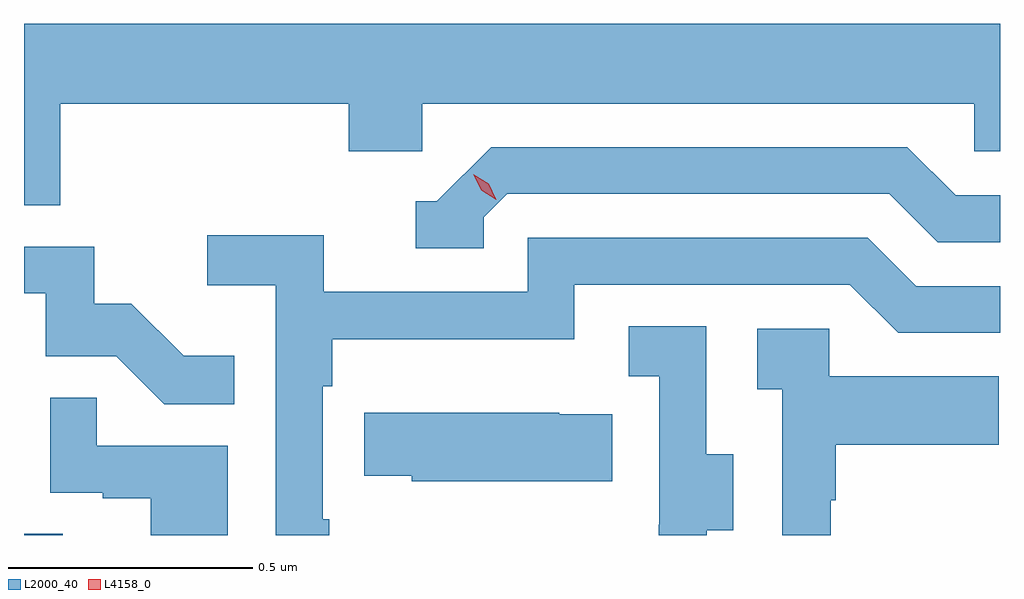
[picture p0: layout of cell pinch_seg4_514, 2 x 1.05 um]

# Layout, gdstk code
import gdstk
lib = gdstk.Library(unit=1e-6, precision=1e-09)
def R(c, l, rs):  # rectangles x0, y0, x1, y1
    for r in rs: c.add(gdstk.rectangle(r[:2], r[2:], *l))
def P(c, l, *ps):  # polygons
    for p in ps: c.add(gdstk.Polygon(p, *l))
L2000_40 = (2000, 40)
L4158_0 = (4158, 0)

pinch_seg4_514 = lib.new_cell('pinch_seg4_514')
R(pinch_seg4_514, L2000_40, [(993.144,753.311,993.223,753.314)])
P(pinch_seg4_514, L2000_40, [(993.218,754.196),(993.809,754.196),(993.809,754.098),(993.96,754.098),(993.96,754.196),(995.091,754.196),(995.091,754.098),(995.144,754.098),(995.144,754.36),(993.144,754.36),(993.144,753.988),(993.218,753.988)],
  [(994.086,753.963),(994.134,754.011),(994.917,754.011),(995.016,753.912),(995.144,753.912),(995.144,754.008),(995.053,754.008),(994.954,754.107),(994.101,754.107),(993.99,753.996),(993.947,753.996),(993.947,753.9),(994.086,753.9)],
  [(993.769,753.344),(993.756,753.344),(993.756,753.617),(993.776,753.617),(993.776,753.713),(994.272,753.713),(994.272,753.825),(994.836,753.825),(994.935,753.726),(995.144,753.726),(995.144,753.822),(994.972,753.822),(994.873,753.921),(994.176,753.921),(994.176,753.81),(993.758,753.81),(993.758,753.926),(993.519,753.926),(993.519,753.824),(993.66,753.824),(993.66,753.311),(993.769,753.311)],
  [(993.575,753.679),(993.471,753.679),(993.364,753.786),(993.288,753.786),(993.288,753.903),(993.144,753.903),(993.144,753.807),(993.189,753.807),(993.189,753.678),(993.333,753.678),(993.431,753.58),(993.575,753.58)],
  [(994.543,753.322),(994.597,753.322),(994.597,753.477),(994.542,753.477),(994.542,753.74),(994.383,753.74),(994.383,753.637),(994.446,753.637),(994.446,753.333),(994.445,753.333),(994.445,753.311),(994.543,753.311)],
  [(994.797,753.383),(994.807,753.383),(994.807,753.497),(995.141,753.497),(995.141,753.637),(994.794,753.637),(994.794,753.735),(994.647,753.735),(994.647,753.611),(994.698,753.611),(994.698,753.311),(994.797,753.311)],
  [(993.562,753.495),(993.293,753.495),(993.293,753.593),(993.198,753.593),(993.198,753.399),(993.305,753.399),(993.305,753.387),(993.404,753.387),(993.404,753.311),(993.562,753.311)],
  [(994.349,753.559),(994.241,753.559),(994.241,753.562),(993.841,753.562),(993.841,753.433),(993.939,753.433),(993.939,753.422),(994.349,753.422)])
P(pinch_seg4_514, L4158_0, [(994.112,753.999),(994.081,754.018),(994.065,754.051),(994.065,754.051),(994.065,754.051),(994.096,754.032),(994.112,753.999),(994.112,753.999)])

lib.write_gds('pinch_seg4_514.gds')
